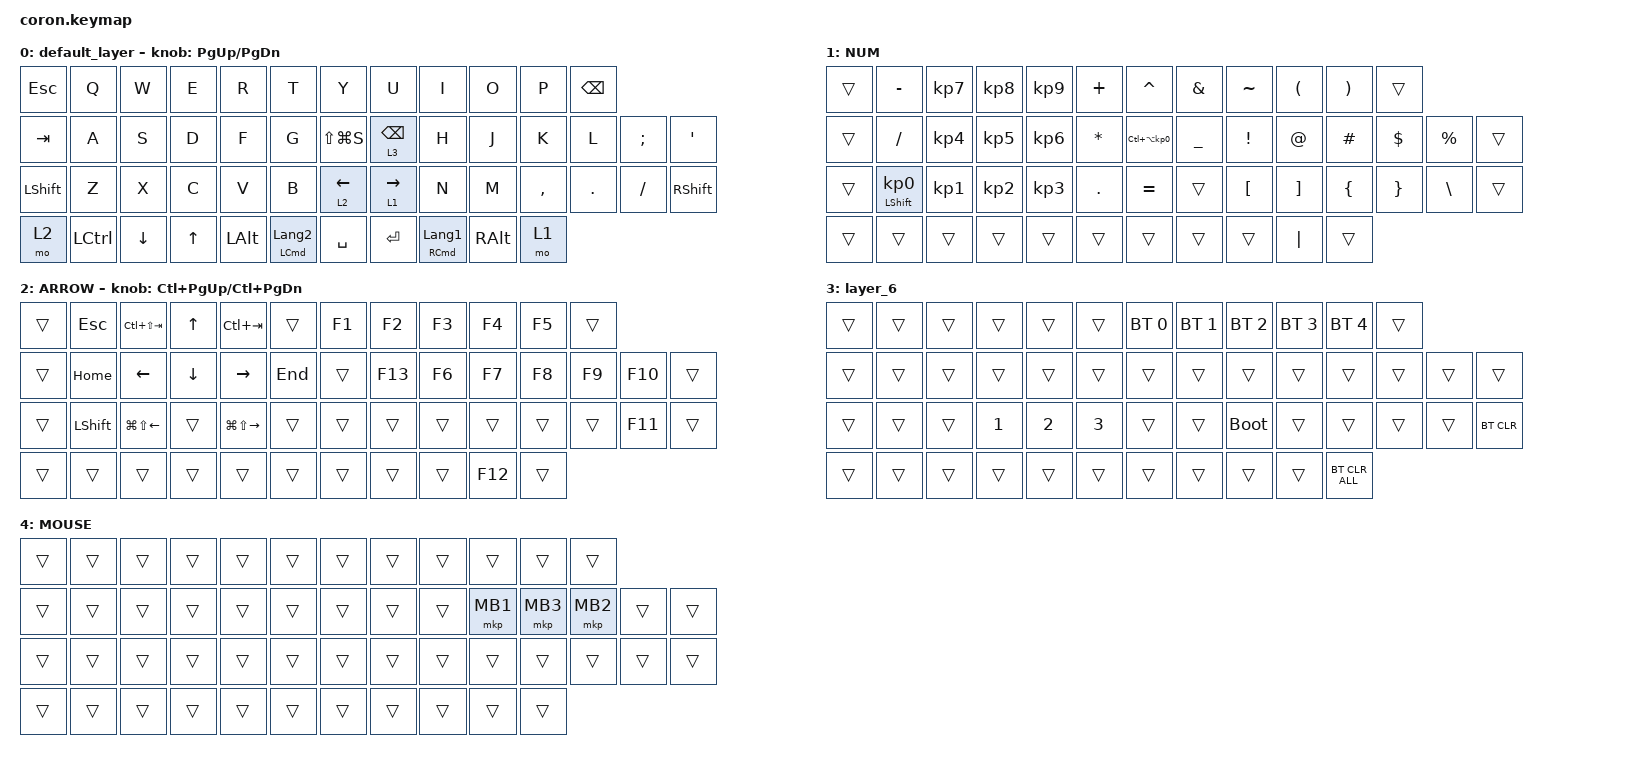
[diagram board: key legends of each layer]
/* coron.keymap */

#include <behaviors.dtsi>
#include <dt-bindings/zmk/bt.h>
#include <dt-bindings/zmk/keys.h>
#include <dt-bindings/zmk/pointing.h>

&trackball {
    automouse-layer = <4>;
    scroll-layers = <5>;
};

/ {
    combos {
        compatible = "zmk,combos";

        /* Note: Key positions have shifted due to added columns. 
           You will need to recalculate these indices later. */

        tab {
            bindings = <&kp TAB>;
            key-positions = <11 12>;
        };

        shift_tab {
            bindings = <&kp LS(TAB)>;
            key-positions = <12 13>;
        };

        muhennkann {
            bindings = <&to_layer_0 INT_MUHENKAN>;
            key-positions = <11 10>;
        };

        double_quotation {
            bindings = <&kp DOUBLE_QUOTES>;
            key-positions = <20 21>;
        };

        eq {
            bindings = <&kp EQUAL>;
            key-positions = <24 25>;
        };
    };

    macros {
        to_layer_0: to_layer_0 {
            compatible = "zmk,behavior-macro-one-param";
            #binding-cells = <1>;
            bindings = <&to 0 &macro_param_1to1 &kp MACRO_PLACEHOLDER>;
            label = "TO_LAYER_0";
        };
    };

    keymap {
        compatible = "zmk,keymap";

        default_layer {
            bindings = <
&kp ESC         &kp Q             &kp W           &kp E         &kp R         &kp T                        &kp Y             &kp U              &kp I                         &kp O          &kp P      &kp BACKSPACE
&kp TAB         &kp A             &kp S           &kp D         &kp F         &kp G                        &kp LS(LG(S))     &lt 3 BACKSPACE    &kp H                         &kp J          &kp K      &kp L          &kp SEMI   &kp APOS
&kp LEFT_SHIFT  &kp Z             &kp X           &kp C         &kp V         &kp B                        &lt 2 LEFT_ARROW  &lt 1 RIGHT_ARROW  &kp N                         &kp M          &kp COMMA  &kp DOT        &kp SLASH  &kp RIGHT_SHIFT
&mo 2           &kp LEFT_CONTROL  &kp DOWN_ARROW  &kp UP_ARROW  &kp LEFT_ALT  &mt LEFT_COMMAND LANGUAGE_2  &kp SPACE         &kp ENTER          &mt RIGHT_COMMAND LANGUAGE_1  &kp RIGHT_ALT  &mo 1
            >;

            sensor-bindings = <&inc_dec_kp PG_UP PAGE_DOWN>;
        };

        NUM {
            bindings = <
&trans  &kp MINUS                   &kp KP_NUMBER_7  &kp KP_NUMBER_8  &kp KP_NUMBER_9  &kp PLUS      &kp CARET                &kp AMPERSAND   &kp TILDE         &kp LEFT_PARENTHESIS  &kp RIGHT_PARENTHESIS  &trans
&trans  &kp SLASH                   &kp KP_NUMBER_4  &kp KP_NUMBER_5  &kp KP_NUMBER_6  &kp ASTERISK  &kp LC(LA(KP_NUMBER_0))  &kp UNDERSCORE  &kp EXCLAMATION   &kp AT_SIGN           &kp HASH               &kp DOLLAR       &kp PERCENT    &trans
&trans  &mt LEFT_SHIFT KP_NUMBER_0  &kp KP_NUMBER_1  &kp KP_NUMBER_2  &kp KP_NUMBER_3  &kp PERIOD    &kp EQUAL                &trans          &kp LEFT_BRACKET  &kp RIGHT_BRACKET     &kp LEFT_BRACE         &kp RIGHT_BRACE  &kp BACKSLASH  &trans
&trans  &trans                      &trans           &trans           &trans           &trans        &trans                   &trans          &trans            &kp PIPE              &trans
            >;
        };

        ARROW {
            bindings = <
&trans  &kp ESCAPE      &kp LC(LS(TAB))         &kp UP_ARROW    &kp LC(TAB)              &trans   &kp F1  &kp F2   &kp F3  &kp F4   &kp F5  &trans
&trans  &kp HOME        &kp LEFT_ARROW          &kp DOWN_ARROW  &kp RIGHT_ARROW          &kp END  &trans  &kp F13  &kp F6  &kp F7   &kp F8  &kp F9  &kp F10  &trans
&trans  &kp LEFT_SHIFT  &kp LG(LS(LEFT_ARROW))  &trans          &kp LG(LS(RIGHT_ARROW))  &trans   &trans  &trans   &trans  &trans   &trans  &trans  &kp F11  &trans
&trans  &trans          &trans                  &trans          &trans                   &trans   &trans  &trans   &trans  &kp F12  &trans
            >;

            sensor-bindings = <&inc_dec_kp LC(PAGE_UP) LC(PAGE_DOWN)>;
        };

        layer_6 {
            bindings = <
&trans  &trans  &trans  &trans        &trans        &trans        &bt BT_SEL 0  &bt BT_SEL 1  &bt BT_SEL 2  &bt BT_SEL 3  &bt BT_SEL 4    &trans
&trans  &trans  &trans  &trans        &trans        &trans        &trans        &trans        &trans        &trans        &trans          &trans  &trans  &trans
&trans  &trans  &trans  &kp NUMBER_1  &kp NUMBER_2  &kp NUMBER_3  &trans        &trans        &bootloader   &trans        &trans          &trans  &trans  &bt BT_CLR
&trans  &trans  &trans  &trans        &trans        &trans        &trans        &trans        &trans        &trans        &bt BT_CLR_ALL
            >;
        };

        MOUSE {
            bindings = <
&trans  &trans  &trans  &trans  &trans  &trans  &trans  &trans  &trans  &trans    &trans    &trans
&trans  &trans  &trans  &trans  &trans  &trans  &trans  &trans  &trans  &mkp MB1  &mkp MB3  &mkp MB2  &trans  &trans
&trans  &trans  &trans  &trans  &trans  &trans  &trans  &trans  &trans  &trans    &trans    &trans    &trans  &trans
&trans  &trans  &trans  &trans  &trans  &trans  &trans  &trans  &trans  &trans    &trans
            >;
        };
    };
};
